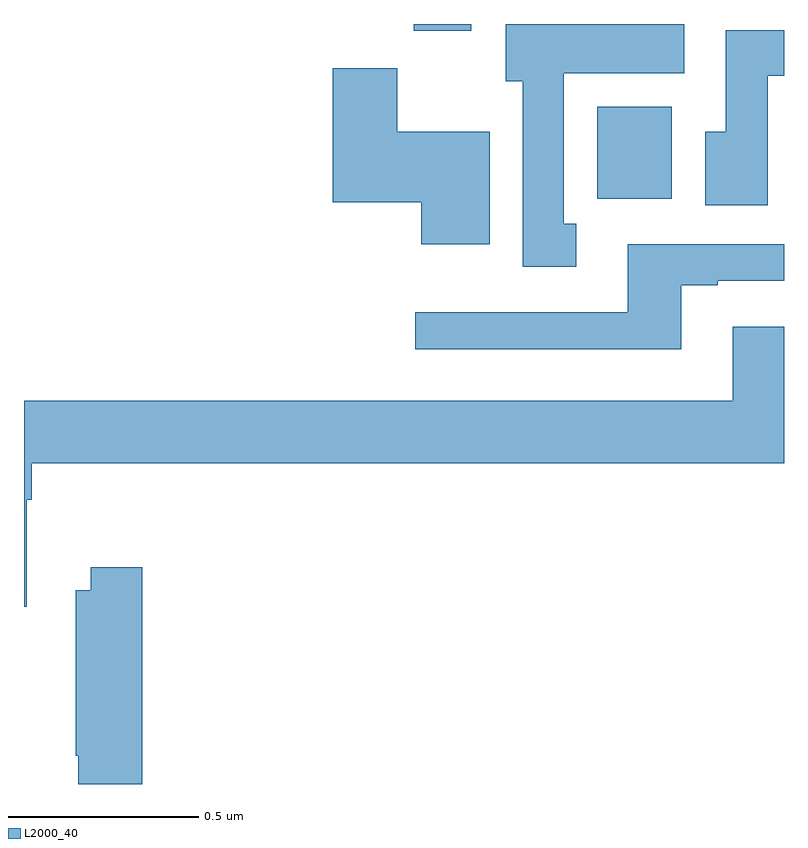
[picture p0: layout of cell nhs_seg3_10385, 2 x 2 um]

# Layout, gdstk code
import gdstk
lib = gdstk.Library(unit=1e-6, precision=1e-09)
def R(c, l, rs):  # rectangles x0, y0, x1, y1
    for r in rs: c.add(gdstk.rectangle(r[:2], r[2:], *l))
def P(c, l, *ps):  # polygons
    for p in ps: c.add(gdstk.Polygon(p, *l))
L2000_40 = (2000, 40)

nhs_seg3_10385 = lib.new_cell('nhs_seg3_10385')
R(nhs_seg3_10385, L2000_40, [(241.508,706.94,241.705,707.182), (241.025,707.382,241.177,707.4)])
P(nhs_seg3_10385, L2000_40, [(241.453,706.874),(241.42,706.874),(241.42,707.27),(241.738,707.27),(241.738,707.4),(241.268,707.4),(241.268,707.25),(241.313,707.25),(241.313,706.761),(241.453,706.761)],
  [(241.957,707.264),(242,707.264),(242,707.383),(241.847,707.383),(241.847,707.116),(241.793,707.116),(241.793,706.923),(241.957,706.923)],
  [(241.225,707.116),(240.982,707.116),(240.982,707.284),(240.812,707.284),(240.812,706.931),(241.046,706.931),(241.046,706.82),(241.225,706.82)],
  [(241.729,706.713),(241.825,706.713),(241.825,706.725),(242,706.725),(242,706.821),(241.589,706.821),(241.589,706.641),(241.029,706.641),(241.029,706.544),(241.729,706.544)],
  [(240.007,706.148),(240.02,706.148),(240.02,706.244),(242,706.244),(242,706.603),(241.865,706.603),(241.865,706.408),(240,706.408),(240,705.867),(240.007,705.867)],
  [(240.311,705.97),(240.176,705.97),(240.176,705.91),(240.136,705.91),(240.136,705.475),(240.143,705.475),(240.143,705.4),(240.311,705.4)])

lib.write_gds('nhs_seg3_10385.gds')
